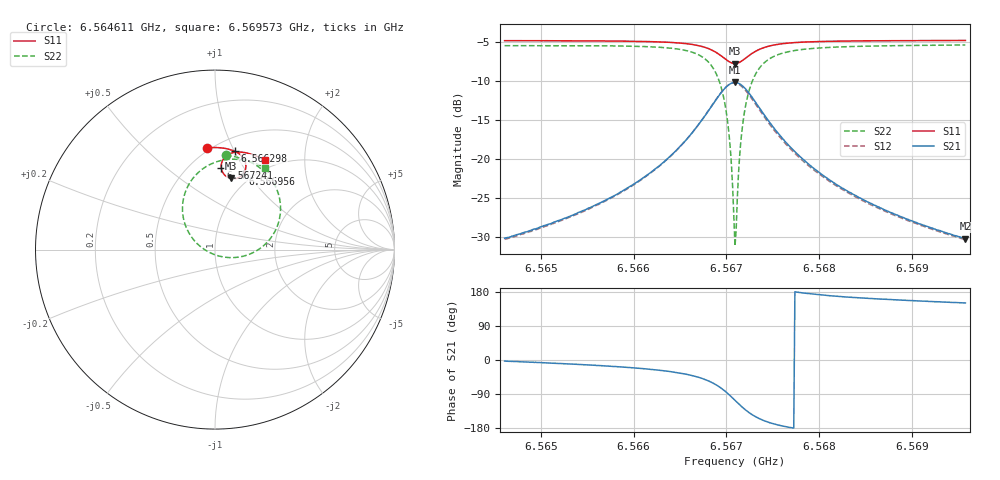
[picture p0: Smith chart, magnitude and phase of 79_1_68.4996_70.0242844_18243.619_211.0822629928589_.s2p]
#  HZ  S  RI  R  50.00
! Rohde & Schwarz Vector Network Analyzer
! Rohde-Schwarz,ZNB20-2Port,1311601062101988,3.16
! Created: UTC 3/20/2024, 4:52:04 PM
! freq[Hz]  re:S11  im:S11  re:S21  im:S21  re:S12  im:S12  re:S22  im:S22
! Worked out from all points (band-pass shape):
!   401 points, 6.564611 GHz to 6.569573 GHz, reference 50 ohm
!   highest |S21| = -10.25 dB at 6.567092 GHz (marker M1); lowest = -30.3 dB at 6.569573 GHz (marker M2)
!   |S21| within 3 dB of the highest: 6.566843 GHz to 6.56734 GHz (497.2 kHz wide, 0.00757 % of centre)
!   lowest |S11| = -7.8 dB at 6.567092 GHz (marker M3), VSWR 2.37, Z = 42.2 + j40 ohm
!   |S11| at or under -10 dB: nowhere
!   |S22| runs from -31.2 to -5.4 dB; largest |S21 - S12| = 0.016
!   S11 on the Smith chart (normalised r, x): 6.564611 GHz: 0.48, +0.81; 6.566298 GHz: 0.63, +1.01; 6.566956 GHz: 0.90, +0.95; 6.567241 GHz: 0.70, +0.80; 6.569573 GHz: 0.88, +1.30
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6.564611e9  -0.0423 0.5679  0.0308 -0.00154  0.0302 -0.00205  0.0607 0.5256
6.5654422e9  0.0274 0.5674  0.0449 -0.00971  0.0442 -0.0103  0.1439 0.5088
6.5662734e9  0.1087 0.5486  0.0797 -0.0405  0.0787 -0.0415  0.2648 0.444
6.5662982e9  0.1116 0.5473  0.0817 -0.0426  0.0804 -0.0436  0.2697 0.4394
6.5665588e9  0.1438 0.5262  0.1037 -0.0786  0.1021 -0.0804  0.3281 0.3684
6.5667573e9  0.1677 0.4905  0.117 -0.1414  0.1143 -0.1445  0.3649 0.2472
6.5668689e9  0.1714 0.4551  0.1051 -0.2037  0.0995 -0.208  0.3462 0.1284
6.5669558e9  0.1568 0.4209  0.0625 -0.2625  0.0529 -0.2659  0.2673 0.0187
6.5670178e9  0.131 0.4008  0.00431 -0.2947  -0.00874 -0.2949  0.1583 -0.0368
6.5670426e9  0.1173 0.3961  -0.0248 -0.3006  -0.0388 -0.2986  0.1049 -0.0446
6.5670798e9  0.095 0.3952  -0.0713 -0.2986  -0.0853 -0.293  0.0215 -0.0357
6.5670922e9  0.0874 0.3964  -0.0866 -0.295  -0.1003 -0.2881  -0.00531 -0.0269
6.5671046e9  0.0802 0.3986  -0.1015 -0.2898  -0.1146 -0.2816  -0.0311 -0.0156
6.567117e9  0.0732 0.4016  -0.1156 -0.2831  -0.1282 -0.2738  -0.0553 -0.00183
6.5671419e9  0.0605 0.4094  -0.1415 -0.2661  -0.1522 -0.2549  -0.0982 0.032
6.5671667e9  0.0502 0.4195  -0.1629 -0.2453  -0.1713 -0.2328  -0.132 0.0717
6.5672411e9  0.035 0.4548  -0.197 -0.1752  -0.1992 -0.1623  -0.1799 0.1994
6.5673404e9  0.0412 0.4945  -0.1939 -0.0986  -0.1917 -0.0889  -0.1606 0.3326
6.5674892e9  0.0686 0.5264  -0.1591 -0.0362  -0.1555 -0.0309  -0.0852 0.4365
6.5679234e9  0.1364 0.5437  -0.0876 0.00902  -0.0854 0.0104  0.0712 0.5024
6.5687547e9  0.2178 0.5259  -0.0426 0.0159  -0.0416 0.0162  0.2037 0.4874
6.5695735e9  0.2803 0.4977  -0.0266 0.015  -0.0261 0.0152  0.2804 0.4548
